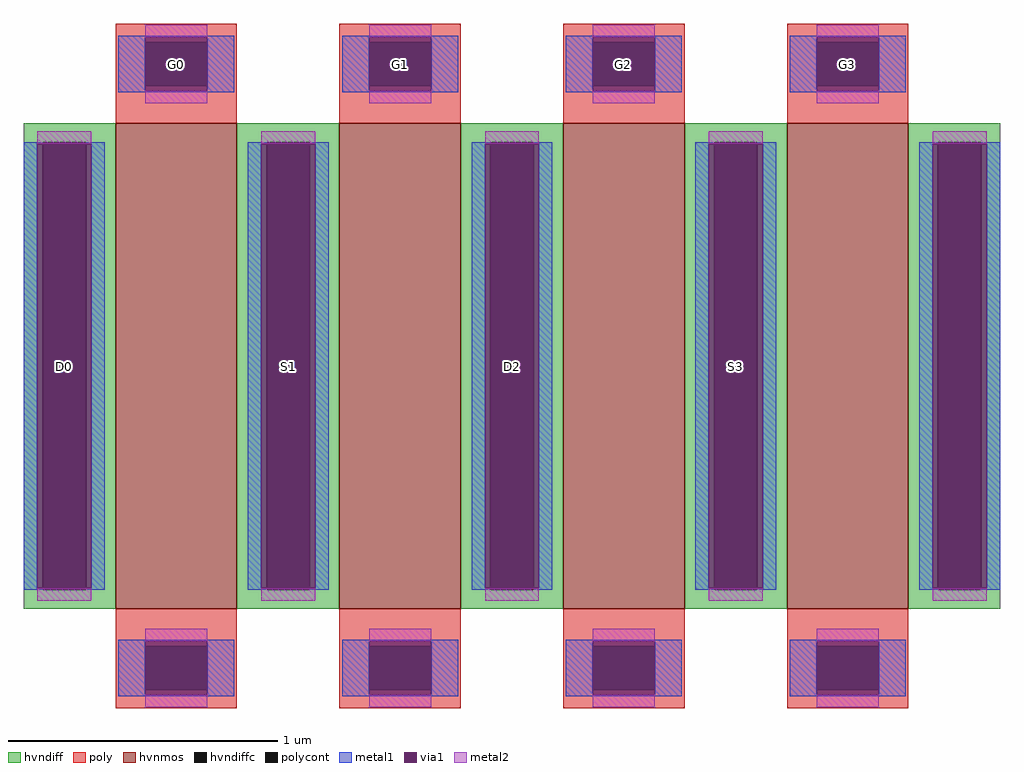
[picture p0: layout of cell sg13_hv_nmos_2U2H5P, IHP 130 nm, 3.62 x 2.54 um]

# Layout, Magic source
magic
tech ihp-sg13cmos5l
magscale 1 2
<< hvnmos >>
rect -294 -180 -204 180
rect -128 -180 -38 180
rect 38 -180 128 180
rect 204 -180 294 180
<< hvndiff >>
rect -362 166 -294 180
rect -362 -166 -348 166
rect -316 -166 -294 166
rect -362 -180 -294 -166
rect -204 166 -128 180
rect -204 -166 -182 166
rect -150 -166 -128 166
rect -204 -180 -128 -166
rect -38 166 38 180
rect -38 -166 -16 166
rect 16 -166 38 166
rect -38 -180 38 -166
rect 128 166 204 180
rect 128 -166 150 166
rect 182 -166 204 166
rect 128 -180 204 -166
rect 294 166 362 180
rect 294 -166 316 166
rect 348 -166 362 166
rect 294 -180 362 -166
<< hvndiffc >>
rect -348 -166 -316 166
rect -182 -166 -150 166
rect -16 -166 16 166
rect 150 -166 182 166
rect 316 -166 348 166
<< poly >>
rect -294 240 -204 254
rect -294 208 -272 240
rect -226 208 -204 240
rect -294 180 -204 208
rect -128 240 -38 254
rect -128 208 -106 240
rect -60 208 -38 240
rect -128 180 -38 208
rect 38 240 128 254
rect 38 208 60 240
rect 106 208 128 240
rect 38 180 128 208
rect 204 240 294 254
rect 204 208 226 240
rect 272 208 294 240
rect 204 180 294 208
rect -294 -208 -204 -180
rect -294 -240 -272 -208
rect -226 -240 -204 -208
rect -294 -254 -204 -240
rect -128 -208 -38 -180
rect -128 -240 -106 -208
rect -60 -240 -38 -208
rect -128 -254 -38 -240
rect 38 -208 128 -180
rect 38 -240 60 -208
rect 106 -240 128 -208
rect 38 -254 128 -240
rect 204 -208 294 -180
rect 204 -240 226 -208
rect 272 -240 294 -208
rect 204 -254 294 -240
<< polycont >>
rect -272 208 -226 240
rect -106 208 -60 240
rect 60 208 106 240
rect 226 208 272 240
rect -272 -240 -226 -208
rect -106 -240 -60 -208
rect 60 -240 106 -208
rect 226 -240 272 -208
<< metal1 >>
rect -292 244 -206 245
rect -292 204 -272 244
rect -226 204 -206 244
rect -292 203 -206 204
rect -126 244 -40 245
rect -126 204 -106 244
rect -60 204 -40 244
rect -126 203 -40 204
rect 40 244 126 245
rect 40 204 60 244
rect 106 204 126 244
rect 40 203 126 204
rect 206 244 292 245
rect 206 204 226 244
rect 272 204 292 244
rect 206 203 292 204
rect -362 165 -348 166
rect -316 165 -302 166
rect -362 -165 -352 165
rect -312 -165 -302 165
rect -362 -166 -348 -165
rect -316 -166 -302 -165
rect -196 165 -182 166
rect -150 165 -136 166
rect -196 -165 -186 165
rect -146 -165 -136 165
rect -196 -166 -182 -165
rect -150 -166 -136 -165
rect -30 165 -16 166
rect 16 165 30 166
rect -30 -165 -20 165
rect 20 -165 30 165
rect -30 -166 -16 -165
rect 16 -166 30 -165
rect 136 165 150 166
rect 182 165 196 166
rect 136 -165 146 165
rect 186 -165 196 165
rect 136 -166 150 -165
rect 182 -166 196 -165
rect 302 165 316 166
rect 348 165 362 166
rect 302 -165 312 165
rect 352 -165 362 165
rect 302 -166 316 -165
rect 348 -166 362 -165
rect -292 -204 -206 -203
rect -292 -244 -272 -204
rect -226 -244 -206 -204
rect -292 -245 -206 -244
rect -126 -204 -40 -203
rect -126 -244 -106 -204
rect -60 -244 -40 -204
rect -126 -245 -40 -244
rect 40 -204 126 -203
rect 40 -244 60 -204
rect 106 -244 126 -204
rect 40 -245 126 -244
rect 206 -204 292 -203
rect 206 -244 226 -204
rect 272 -244 292 -204
rect 206 -245 292 -244
<< via1 >>
rect -272 240 -226 244
rect -272 208 -226 240
rect -272 204 -226 208
rect -106 240 -60 244
rect -106 208 -60 240
rect -106 204 -60 208
rect 60 240 106 244
rect 60 208 106 240
rect 60 204 106 208
rect 226 240 272 244
rect 226 208 272 240
rect 226 204 272 208
rect -352 -165 -348 165
rect -348 -165 -316 165
rect -316 -165 -312 165
rect -186 -165 -182 165
rect -182 -165 -150 165
rect -150 -165 -146 165
rect -20 -165 -16 165
rect -16 -165 16 165
rect 16 -165 20 165
rect 146 -165 150 165
rect 150 -165 182 165
rect 182 -165 186 165
rect 312 -165 316 165
rect 316 -165 348 165
rect 348 -165 352 165
rect -272 -208 -226 -204
rect -272 -240 -226 -208
rect -272 -244 -226 -240
rect -106 -208 -60 -204
rect -106 -240 -60 -208
rect -106 -244 -60 -240
rect 60 -208 106 -204
rect 60 -240 106 -208
rect 60 -244 106 -240
rect 226 -208 272 -204
rect 226 -240 272 -208
rect 226 -244 272 -240
<< metal2 >>
rect -272 244 -226 253
rect -272 195 -226 204
rect -106 244 -60 253
rect -106 195 -60 204
rect 60 244 106 253
rect 60 195 106 204
rect 226 244 272 253
rect 226 195 272 204
rect -352 165 -312 174
rect -352 -174 -312 -165
rect -186 165 -146 174
rect -186 -174 -146 -165
rect -20 165 20 174
rect -20 -174 20 -165
rect 146 165 186 174
rect 146 -174 186 -165
rect 312 165 352 174
rect 312 -174 352 -165
rect -272 -204 -226 -195
rect -272 -253 -226 -244
rect -106 -204 -60 -195
rect -106 -253 -60 -244
rect 60 -204 106 -195
rect 60 -253 106 -244
rect 226 -204 272 -195
rect 226 -253 272 -244
<< labels >>
rlabel hvndiffc -332 0 -332 0 0 D0
port 1 nsew
rlabel polycont -249 224 -249 224 0 G0
port 2 nsew
rlabel hvndiffc -166 0 -166 0 0 S1
port 3 nsew
rlabel polycont -83 224 -83 224 0 G1
port 4 nsew
rlabel hvndiffc 0 0 0 0 0 D2
port 5 nsew
rlabel polycont 83 224 83 224 0 G2
port 6 nsew
rlabel hvndiffc 166 0 166 0 0 S3
port 7 nsew
rlabel polycont 249 224 249 224 0 G3
port 8 nsew
<< properties >>
string gencell sg13_hv_nmos
string library sg13cmos5l
string parameters w 1.8 l 0.45 m 1 ng 4 diffcov 100 polycov 100 guard 0 glc 1 grc 1 gtc 1 gbc 1 tbcov 100 rlcov 100 topc 1 botc 1 poverlap 0 doverlap 1 lmin 0.45 wmin 0.15 class mosfet compatible {sg13_lv_nmos sg13_hv_nmos} full_metal 1 conn_gates 0 gate_ring 0 doports 1 viasrc 100 viadrn 100 viagate 100 ccols 1 viagb 0 viagr 0 viagl 0 viagt 0
<< end >>
